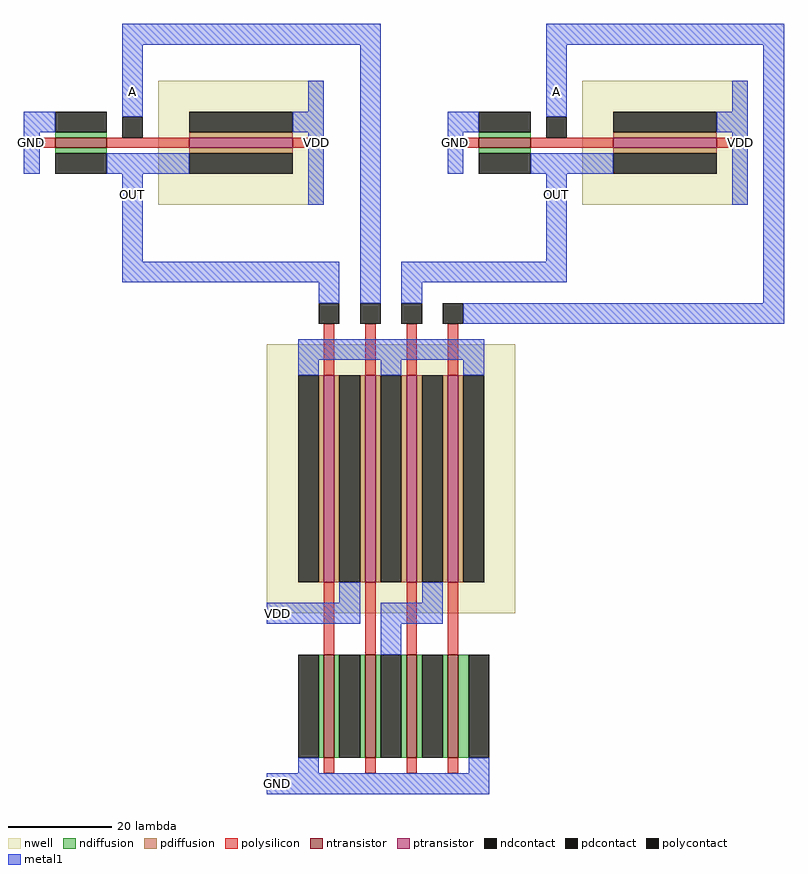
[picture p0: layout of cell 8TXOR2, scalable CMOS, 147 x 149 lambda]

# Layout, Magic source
magic
tech scmos
<< nwell >>
rect -27 107 5 131
rect 55 107 87 131
rect -6 28 42 80
<< ntransistor >>
rect -47 118 -37 120
rect 35 118 45 120
rect 5 0 7 20
rect 13 0 15 20
rect 21 0 23 20
rect 29 0 31 20
<< ptransistor >>
rect -21 118 -1 120
rect 61 118 81 120
rect 5 34 7 74
rect 13 34 15 74
rect 21 34 23 74
rect 29 34 31 74
<< ndiffusion >>
rect -47 120 -37 121
rect 35 120 45 121
rect -47 117 -37 118
rect 35 117 45 118
rect 4 0 5 20
rect 7 0 8 20
rect 12 0 13 20
rect 15 0 16 20
rect 20 0 21 20
rect 23 0 24 20
rect 28 0 29 20
rect 31 0 33 20
<< pdiffusion >>
rect -21 120 -1 121
rect 61 120 81 121
rect -21 117 -1 118
rect 61 117 81 118
rect 4 34 5 74
rect 7 34 8 74
rect 12 34 13 74
rect 15 34 16 74
rect 20 34 21 74
rect 23 34 24 74
rect 28 34 29 74
rect 31 34 32 74
<< ndcontact >>
rect -47 121 -37 125
rect 35 121 45 125
rect -47 113 -37 117
rect 35 113 45 117
rect 0 0 4 20
rect 8 0 12 20
rect 16 0 20 20
rect 24 0 28 20
rect 33 0 37 20
<< pdcontact >>
rect -21 121 -1 125
rect 61 121 81 125
rect -21 113 -1 117
rect 61 113 81 117
rect 0 34 4 74
rect 8 34 12 74
rect 16 34 20 74
rect 24 34 28 74
rect 32 34 36 74
<< polysilicon >>
rect -50 118 -47 120
rect -37 118 -21 120
rect -1 118 2 120
rect 32 118 35 120
rect 45 118 61 120
rect 81 118 84 120
rect 5 74 7 84
rect 13 74 15 84
rect 21 74 23 84
rect 29 74 31 84
rect 5 20 7 34
rect 13 20 15 34
rect 21 20 23 34
rect 29 20 31 34
rect 5 -3 7 0
rect 13 -3 15 0
rect 21 -3 23 0
rect 29 -3 31 0
<< polycontact >>
rect -34 120 -30 124
rect 48 120 52 124
rect 4 84 8 88
rect 12 84 16 88
rect 20 84 24 88
rect 28 84 32 88
<< metal1 >>
rect -34 138 16 142
rect -53 121 -47 125
rect -34 124 -30 138
rect 2 125 5 131
rect -53 113 -50 121
rect -1 121 5 125
rect -37 113 -21 117
rect -34 96 -30 113
rect 2 107 5 121
rect -34 92 8 96
rect 4 88 8 92
rect 12 88 16 138
rect 48 138 94 142
rect 29 121 35 125
rect 48 124 52 138
rect 84 125 87 131
rect 29 113 32 121
rect 81 121 87 125
rect 45 113 61 117
rect 48 96 52 113
rect 84 107 87 121
rect 20 92 52 96
rect 20 88 24 92
rect 90 88 94 138
rect 32 84 94 88
rect 0 77 36 81
rect 0 74 4 77
rect 16 74 20 77
rect 32 74 36 77
rect 8 30 12 34
rect 24 30 28 34
rect -6 26 12 30
rect 16 26 28 30
rect 16 20 20 26
rect 0 -3 4 0
rect 33 -3 37 0
rect -6 -7 37 -3
<< labels >>
rlabel metal1 -6 26 -2 30 3 VDD
rlabel metal1 -6 -7 -2 -3 2 GND
rlabel metal1 -34 127 -30 131 5 A
rlabel metal1 -34 107 -30 111 1 OUT
rlabel metal1 -53 113 -50 125 3 GND
rlabel metal1 2 107 5 131 7 VDD
rlabel metal1 48 127 52 131 5 A
rlabel metal1 48 107 52 111 1 OUT
rlabel metal1 29 113 32 125 3 GND
rlabel metal1 84 107 87 131 7 VDD
<< end >>
